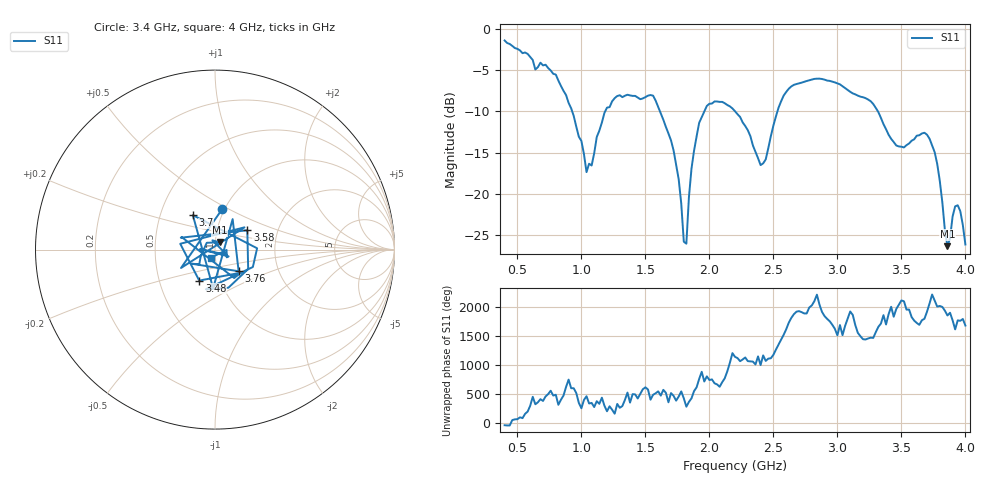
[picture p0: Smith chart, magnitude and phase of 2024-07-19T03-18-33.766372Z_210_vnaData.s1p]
!Created with skrf (http://scikit-rf.org).
# Hz S RI R 50.0
!freq ReS11 ImS11
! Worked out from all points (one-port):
!   181 points, 400 MHz to 4 GHz, reference 50 ohm
!   lowest |S11| = -26.4 dB at 3.86 GHz (marker M1), VSWR 1.10, Z = 52.4 + j4.27 ohm
!   |S11| at or under -10 dB: 1.614 GHz to 1.96 GHz (345.5 MHz wide, 19.3 % of centre); 2.202 GHz to 2.531 GHz (329.9 MHz wide, 13.9 % of centre); 3.317 GHz to end of sweep (the widest 3 of 4)
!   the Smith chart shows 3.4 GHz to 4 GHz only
!   S11 on the Smith chart (normalised r, x): 3.4 GHz: 0.97, +0.46; 3.48 GHz: 0.79, -0.28; 3.58 GHz: 1.40, +0.31; 3.7 GHz: 0.73, +0.30; 3.76 GHz: 1.26, -0.31; 4 GHz: 0.96, -0.08
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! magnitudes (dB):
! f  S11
! 400 MHz  -1.4
! 860 MHz  -7.5
! 1.04 GHz  -17.4
! 1.18 GHz  -10.2
! 1.3 GHz  -8.0
! 1.56 GHz  -8.1
! 1.7 GHz  -13.5
! 1.76 GHz  -18.2
! 1.8 GHz  -25.9
! 1.82 GHz  -26.1
! 1.86 GHz  -17.0
! 1.92 GHz  -11.4
! 2.04 GHz  -8.8
! 2.2 GHz  -10.0
! 2.4 GHz  -16.5
! 2.56 GHz  -8.8
! 2.66 GHz  -6.8
! 3.1 GHz  -7.6
! 3.28 GHz  -9.1
! 3.4 GHz  -12.8
! 3.48 GHz  -14.3
! 3.56 GHz  -13.9
! 3.58 GHz  -13.6
! 3.7 GHz  -12.8
! 3.76 GHz  -15.0
! 3.86 GHz  -26.4
! 3.94 GHz  -21.4
! 4 GHz  -26.2
